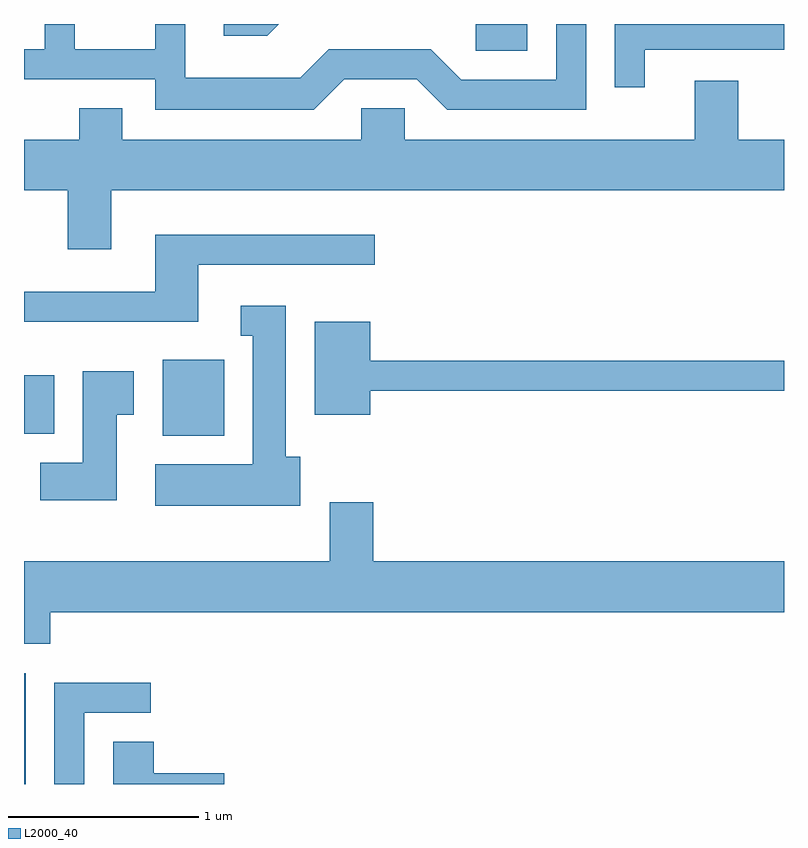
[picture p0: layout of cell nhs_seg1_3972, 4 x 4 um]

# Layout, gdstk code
import gdstk
lib = gdstk.Library(unit=1e-6, precision=1e-09)
def R(c, l, rs):  # rectangles x0, y0, x1, y1
    for r in rs: c.add(gdstk.rectangle(r[:2], r[2:], *l))
def P(c, l, *ps):  # polygons
    for p in ps: c.add(gdstk.Polygon(p, *l))
L2000_40 = (2000, 40)

nhs_seg1_3972 = lib.new_cell('nhs_seg1_3972')
R(nhs_seg1_3972, L2000_40, [(303.611,969.712,303.619,970.294), (304.341,971.546,304.664,971.944), (303.611,971.556,303.769,971.864), (305.988,973.571,306.259,973.712)])
P(nhs_seg1_3972, L2000_40, [(306.879,973.576),(307.611,973.576),(307.611,973.712),(306.721,973.712),(306.721,973.378),(306.879,973.378)],
  [(305.297,973.421),(305.679,973.421),(305.839,973.261),(306.569,973.261),(306.569,973.712),(306.411,973.712),(306.411,973.419),(305.912,973.419),(305.752,973.579),(305.214,973.579),(305.064,973.429),(304.459,973.429),(304.459,973.712),(304.301,973.712),(304.301,973.579),(303.879,973.579),(303.879,973.712),(303.721,973.712),(303.721,973.579),(303.611,973.579),(303.611,973.421),(304.301,973.421),(304.301,973.261),(305.137,973.261)],
  [(304.953,973.712),(304.663,973.712),(304.663,973.651),(304.892,973.651)],
  [(304.069,972.836),(307.611,972.836),(307.611,973.104),(307.369,973.104),(307.369,973.414),(307.141,973.414),(307.141,973.104),(305.614,973.104),(305.614,973.269),(305.386,973.269),(305.386,973.104),(304.129,973.104),(304.129,973.269),(303.901,973.269),(303.901,973.104),(303.611,973.104),(303.611,972.836),(303.841,972.836),(303.841,972.526),(304.069,972.526)],
  [(304.529,972.446),(305.458,972.446),(305.458,972.604),(304.301,972.604),(304.301,972.304),(303.611,972.304),(303.611,972.146),(304.529,972.146)],
  [(305.064,971.434),(304.989,971.434),(304.989,972.229),(304.753,972.229),(304.753,972.071),(304.816,972.071),(304.816,971.394),(304.301,971.394),(304.301,971.176),(305.064,971.176)],
  [(305.434,971.781),(307.611,971.781),(307.611,971.939),(305.434,971.939),(305.434,972.144),(305.141,972.144),(305.141,971.656),(305.434,971.656)],
  [(304.099,971.656),(304.189,971.656),(304.189,971.884),(303.921,971.884),(303.921,971.404),(303.696,971.404),(303.696,971.206),(304.099,971.206)],
  [(303.749,970.616),(307.611,970.616),(307.611,970.884),(305.449,970.884),(305.449,971.194),(305.221,971.194),(305.221,970.884),(303.611,970.884),(303.611,970.451),(303.749,970.451)],
  [(303.929,970.086),(304.278,970.086),(304.278,970.244),(303.771,970.244),(303.771,969.712),(303.929,969.712)],
  [(304.664,969.769),(304.294,969.769),(304.294,969.934),(304.081,969.934),(304.081,969.712),(304.664,969.712)])

lib.write_gds('nhs_seg1_3972.gds')
